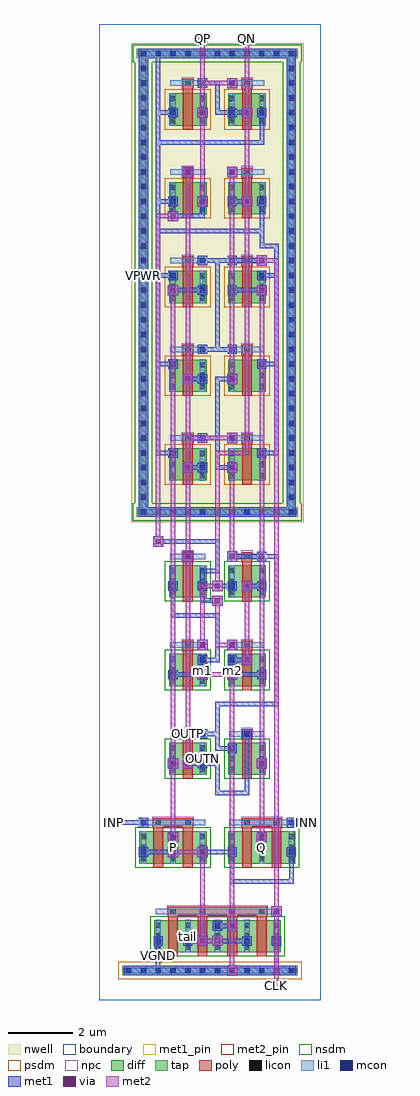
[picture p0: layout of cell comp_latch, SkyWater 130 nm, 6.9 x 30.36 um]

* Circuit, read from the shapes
.subckt comp_latch CLK INN INP OUTN OUTP P Q QN QP VGND VPWR m1 m2 tail
XM1 P INP tail VGND sky130_fd_pr__nfet_01v8 w=1 l=0.3 m=2
XM2 tail CLK VGND VGND sky130_fd_pr__nfet_01v8 w=1 l=0.3 m=4
XM3 OUTN OUTP P VGND sky130_fd_pr__nfet_01v8 w=1 l=0.3
XM4 m1 QN VGND VGND sky130_fd_pr__nfet_01v8 w=1 l=0.3
XM5 QP OUTN m1 VGND sky130_fd_pr__nfet_01v8 w=1 l=0.3
XM6 Q INN tail VGND sky130_fd_pr__nfet_01v8 w=1 l=0.3 m=2
XM7 Q OUTN OUTP VGND sky130_fd_pr__nfet_01v8 w=1 l=0.3
XM8 VGND QP m2 VGND sky130_fd_pr__nfet_01v8 w=1 l=0.3
XM9 m2 OUTP QN VGND sky130_fd_pr__nfet_01v8 w=1 l=0.3
XM10 OUTN OUTP VPWR VPWR sky130_fd_pr__pfet_01v8 w=1 l=0.3
XM11 OUTN CLK VPWR VPWR sky130_fd_pr__pfet_01v8 w=1 l=0.3
XM12 P CLK VPWR VPWR sky130_fd_pr__pfet_01v8 w=1 l=0.3
XM13 QP OUTN VPWR VPWR sky130_fd_pr__pfet_01v8 w=1 l=0.3
XM14 QP QN VPWR VPWR sky130_fd_pr__pfet_01v8 w=1 l=0.3
XM15 VPWR OUTN OUTP VPWR sky130_fd_pr__pfet_01v8 w=1 l=0.3
XM16 VPWR CLK OUTP VPWR sky130_fd_pr__pfet_01v8 w=1 l=0.3
XM17 VPWR CLK Q VPWR sky130_fd_pr__pfet_01v8 w=1 l=0.3
XM18 VPWR OUTP QN VPWR sky130_fd_pr__pfet_01v8 w=1 l=0.3
XM19 VPWR QP QN VPWR sky130_fd_pr__pfet_01v8 w=1 l=0.3
.ends

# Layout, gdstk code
import gdstk
lib = gdstk.Library(unit=1e-6, precision=1e-09)
def R(c, l, rs):  # rectangles x0, y0, x1, y1
    for r in rs: c.add(gdstk.rectangle(r[:2], r[2:], *l))
def A(c, l, x, y, w, h, nx, ny, dx, dy):  # array of equal rectangles
    R(c, l, [(x+i*dx, y+j*dy, x+i*dx+w, y+j*dy+h) for i in range(nx) for j in range(ny)])
nwell = (64, 20)
diff = (65, 20)
tap = (65, 44)
poly = (66, 20)
licon = (66, 44)
li1 = (67, 20)
mcon = (67, 44)
met1_pin = (68, 16)
met1 = (68, 20)
via = (68, 44)
met2_pin = (69, 16)
met2 = (69, 20)
nsdm = (93, 44)
psdm = (94, 20)
npc = (95, 20)
boundary = (235, 4)

comp_latch = lib.new_cell('comp_latch')
R(comp_latch, nwell, [(0.995,14.855,6.365,29.765)])
A(comp_latch, diff, 2.175, 7.005, 1.17, 1, 1, 3, 0, 2.76)
A(comp_latch, diff, 4.015, 7.005, 1.17, 1, 1, 3, 0, 2.76)
A(comp_latch, diff, 2.175, 16.16, 1.17, 1, 1, 5, 0, 2.76)
A(comp_latch, diff, 4.015, 16.16, 1.17, 1, 1, 5, 0, 2.76)
R(comp_latch, diff, [(1.715,1.485,5.645,2.485), (1.255,4.245,3.345,5.245), (4.015,4.245,6.105,5.245)])
R(comp_latch, tap, [(0.715,0.775,6.185,1.065), (1.175,15.035,6.185,15.325), (1.235,15.035,1.525,29.585), (5.835,15.035,6.125,29.585), (1.175,29.295,6.185,29.585)])
A(comp_latch, poly, 2.15, 1.355, 0.3, 1.405, 4, 1, 0.92, 0)
A(comp_latch, poly, 2.61, 4.115, 0.3, 1.405, 1, 4, 0, 2.76)
A(comp_latch, poly, 4.45, 4.115, 0.3, 1.405, 1, 4, 0, 2.76)
A(comp_latch, poly, 2.595, 8.145, 0.33, 0.27, 1, 3, 0, 2.76)
A(comp_latch, poly, 4.435, 8.145, 0.33, 0.27, 1, 3, 0, 2.76)
A(comp_latch, poly, 2.61, 16.03, 0.3, 1.45, 1, 5, 0, 2.76)
A(comp_latch, poly, 4.45, 16.03, 0.3, 1.45, 1, 5, 0, 2.76)
A(comp_latch, poly, 2.595, 17.345, 0.33, 0.27, 1, 5, 0, 2.76)
A(comp_latch, poly, 4.435, 17.345, 0.33, 0.27, 1, 5, 0, 2.76)
R(comp_latch, poly, [(2.135,2.625,5.225,2.895), (1.69,4.115,1.99,5.52), (5.37,4.115,5.67,5.52), (1.675,5.385,2.925,5.655), (4.435,5.385,5.685,5.655)])
A(comp_latch, licon, 0.835, 0.835, 0.17, 0.17, 12, 1, 0.46, 0)
A(comp_latch, licon, 1.755, 1.56, 0.17, 0.17, 5, 3, 0.92, 0.34)
A(comp_latch, licon, 2.215, 2.675, 0.17, 0.17, 4, 2, 0.92, 4.405)
A(comp_latch, licon, 1.295, 4.32, 0.17, 0.17, 6, 3, 0.92, 0.34)
A(comp_latch, licon, 2.675, 5.435, 0.17, 0.17, 1, 4, 0, 2.76)
A(comp_latch, licon, 4.515, 5.435, 0.17, 0.17, 1, 4, 0, 2.76)
A(comp_latch, licon, 2.215, 7.42, 0.17, 0.17, 4, 2, 0.92, 0.34)
A(comp_latch, licon, 2.215, 9.84, 0.17, 0.17, 4, 3, 0.92, 0.34)
A(comp_latch, licon, 2.215, 12.6, 0.17, 0.17, 4, 3, 0.92, 0.34)
A(comp_latch, licon, 1.295, 15.095, 0.17, 0.17, 11, 2, 0.46, 14.26)
A(comp_latch, licon, 1.295, 15.555, 0.17, 0.17, 1, 30, 0, 0.46)
A(comp_latch, licon, 5.895, 15.555, 0.17, 0.17, 1, 30, 0, 0.46)
A(comp_latch, licon, 2.215, 16.235, 0.17, 0.17, 4, 3, 0.92, 0.34)
A(comp_latch, licon, 2.675, 17.395, 0.17, 0.17, 1, 5, 0, 2.76)
A(comp_latch, licon, 4.515, 17.395, 0.17, 0.17, 1, 5, 0, 2.76)
A(comp_latch, licon, 2.215, 18.995, 0.17, 0.17, 4, 3, 0.92, 0.34)
A(comp_latch, licon, 2.215, 21.755, 0.17, 0.17, 4, 3, 0.92, 0.34)
A(comp_latch, licon, 2.215, 24.515, 0.17, 0.17, 4, 3, 0.92, 0.34)
A(comp_latch, licon, 2.215, 27.275, 0.17, 0.17, 4, 3, 0.92, 0.34)
R(comp_latch, licon, [(1.755,5.435,1.925,5.605), (5.435,5.435,5.605,5.605)])
A(comp_latch, li1, 1.755, 1.48, 0.17, 1.01, 5, 1, 0.92, 0)
A(comp_latch, li1, 1.295, 4.24, 0.17, 1.01, 6, 1, 0.92, 0)
A(comp_latch, li1, 2.215, 7, 0.17, 1.01, 4, 3, 0.92, 2.76)
A(comp_latch, li1, 2.215, 8.195, 1.09, 0.17, 1, 3, 0, 2.76)
A(comp_latch, li1, 4.055, 8.195, 1.09, 0.17, 1, 3, 0, 2.76)
A(comp_latch, li1, 2.215, 16.155, 0.17, 1.01, 4, 5, 0.92, 2.76)
A(comp_latch, li1, 2.215, 17.395, 1.09, 0.17, 1, 5, 0, 2.76)
A(comp_latch, li1, 4.055, 17.395, 1.09, 0.17, 1, 5, 0, 2.76)
R(comp_latch, li1, [(0.755,0.835,6.145,1.005), (1.755,2.675,5.605,2.845), (1.295,5.435,3.305,5.605), (4.055,5.435,6.065,5.605), (1.215,15.095,6.145,15.265), (1.295,15.095,1.465,29.525), (5.895,15.095,6.065,29.525), (1.215,29.355,6.145,29.525)])
A(comp_latch, mcon, 0.835, 0.835, 0.17, 0.17, 12, 1, 0.46, 0)
A(comp_latch, mcon, 2.215, 12.795, 0.17, 0.17, 4, 1, 0.92, 0)
A(comp_latch, mcon, 1.295, 15.095, 0.17, 0.17, 11, 2, 0.46, 14.26)
A(comp_latch, mcon, 1.295, 15.555, 0.17, 0.17, 1, 20, 0, 0.46)
A(comp_latch, mcon, 5.895, 15.555, 0.17, 0.17, 1, 20, 0, 0.46)
A(comp_latch, mcon, 2.215, 16.935, 0.17, 0.17, 1, 3, 0, 2.76)
A(comp_latch, mcon, 4.975, 16.935, 0.17, 0.17, 1, 3, 0, 2.76)
A(comp_latch, mcon, 1.295, 24.755, 0.17, 0.17, 6, 2, 0.92, 2.76)
A(comp_latch, mcon, 5.895, 25.215, 0.17, 0.17, 1, 5, 0, 0.46)
A(comp_latch, mcon, 1.295, 25.675, 0.17, 0.17, 3, 1, 1.38, 0)
A(comp_latch, mcon, 1.295, 26.135, 0.17, 0.17, 1, 3, 0, 0.46)
A(comp_latch, mcon, 1.295, 27.975, 0.17, 0.17, 1, 3, 0, 0.46)
A(comp_latch, mcon, 5.895, 27.975, 0.17, 0.17, 1, 3, 0, 0.46)
R(comp_latch, mcon, [(1.755,1.755,1.925,1.925), (2.675,1.755,2.845,1.925), (4.515,1.755,4.685,1.925), (5.435,1.755,5.605,1.925), (3.595,2.215,3.765,2.385), (5.435,2.675,5.605,2.845), (1.295,4.515,1.465,4.685), (3.135,4.515,3.305,4.685), (4.055,4.515,4.225,4.685), (5.895,4.515,6.065,4.685), (2.215,4.975,2.385,5.145), (4.975,4.975,5.145,5.145), (1.295,5.435,1.465,5.605), (5.895,5.435,6.065,5.605), (2.215,7.275,2.385,7.445), (3.135,7.275,3.305,7.445), (4.975,7.275,5.145,7.445), (4.055,7.735,4.225,7.905), (3.135,8.195,3.305,8.365), (4.515,8.195,4.685,8.365), (2.215,10.035,2.385,10.205), (4.975,10.035,5.145,10.205), (3.135,10.495,3.305,10.665), (4.055,10.495,4.225,10.665), (3.135,10.955,3.305,11.125), (4.055,10.955,4.225,11.125), (2.675,13.715,2.845,13.885), (4.975,13.715,5.145,13.885), (3.135,16.475,3.305,16.645), (4.055,16.475,4.225,16.645), (3.135,17.395,3.305,17.565), (4.055,17.395,4.225,17.565), (3.135,19.235,3.305,19.405), (4.055,19.235,4.225,19.405), (3.135,20.155,3.305,20.325), (4.055,20.155,4.225,20.325), (3.135,21.995,3.305,22.165), (4.055,21.995,4.225,22.165), (3.135,22.915,3.305,23.085), (4.055,22.915,4.225,23.085), (1.295,25.215,1.465,25.385), (3.135,28.435,3.305,28.605), (4.055,28.435,4.225,28.605)])
R(comp_latch, met1_pin, [(1.77,0.85,1.91,1.91), (1.31,22.47,1.45,22.61)])
A(comp_latch, met1, 2.615, 1.695, 0.29, 0.29, 1, 3, 0, 11.96)
A(comp_latch, met1, 3.98, 10.88, 0.32, 0.32, 1, 3, 0, 2.76)
A(comp_latch, met1, 2.155, 12.735, 0.29, 0.29, 4, 2, 0.92, 11.96)
A(comp_latch, met1, 2.6, 13.64, 0.32, 0.32, 1, 3, 0, 2.76)
A(comp_latch, met1, 2.155, 16.875, 0.29, 0.29, 1, 3, 0, 2.76)
A(comp_latch, met1, 4.915, 16.875, 0.29, 0.29, 1, 3, 0, 2.76)
A(comp_latch, met1, 4.99, 16.95, 0.6, 0.14, 1, 3, 0, 2.76)
A(comp_latch, met1, 3.15, 17.41, 0.6, 0.14, 1, 3, 0, 5.52)
A(comp_latch, met1, 3.995, 22.855, 0.29, 0.29, 1, 3, 0, 2.76)
A(comp_latch, met1, 2.155, 27.455, 0.29, 0.29, 4, 1, 0.92, 0)
R(comp_latch, met1, [(3.98,0.76,4.3,1.08), (0.775,0.775,6.125,1.065), (1.77,0.85,1.91,1.91), (1.77,0.85,4.21,0.99), (4.07,0.85,4.21,0.99), (4.07,0.85,5.59,0.99), (5.45,0.85,5.59,1.91), (3.06,1.68,3.38,2), (3.52,1.68,3.84,2), (1.695,1.695,1.985,1.985), (4.455,1.695,4.745,1.985), (5.375,1.695,5.665,1.985), (2.69,1.77,3.29,1.91), (3.61,1.77,4.67,1.91), (3.98,2.14,4.3,2.46), (3.535,2.155,3.825,2.445), (3.61,2.23,4.21,2.37), (5.36,2.6,5.68,2.92), (5.375,2.615,5.665,2.905), (4.07,3.61,4.21,4.67), (4.07,3.61,6.05,3.75), (5.91,3.61,6.05,4.67), (2.14,4.44,2.46,4.76), (3.06,4.44,3.38,4.76), (1.235,4.455,1.525,4.745), (3.075,4.455,3.365,4.745), (3.995,4.455,4.285,4.745), (5.835,4.455,6.125,4.745), (1.31,4.53,2.37,4.67), (3.15,4.53,4.21,4.67), (2.14,4.9,2.46,5.22), (4.9,4.9,5.22,5.22), (2.155,4.915,2.445,5.205), (4.915,4.915,5.205,5.205), (0.3,5.36,0.62,5.68), (6.28,5.36,6.6,5.68), (1.235,5.375,1.525,5.665), (5.835,5.375,6.125,5.665), (0.39,5.45,1.45,5.59), (5.91,5.45,6.51,5.59), (3.61,6.37,4.67,6.51), (3.61,6.37,3.75,7.43), (4.53,6.37,4.67,8.35), (2.14,7.2,2.46,7.52), (2.6,7.2,2.92,7.52), (4.9,7.2,5.22,7.52), (2.155,7.215,2.445,7.505), (3.075,7.215,3.365,7.505), (4.915,7.215,5.205,7.505), (2.69,7.29,3.29,7.43), (3.15,7.29,3.75,7.43), (3.995,7.675,4.285,7.965), (3.61,7.75,4.21,7.89), (3.61,7.75,3.75,8.35), (3.075,8.135,3.365,8.425), (4.455,8.135,4.745,8.425), (3.15,8.21,3.75,8.35), (3.61,8.21,3.75,9.27), (3.61,9.13,5.59,9.27), (5.45,9.13,5.59,13.87), (3.06,9.96,3.38,10.28), (3.98,9.96,4.3,10.28), (2.155,9.975,2.445,10.265), (4.915,9.975,5.205,10.265), (2.23,10.05,3.29,10.19), (4.07,10.05,5.13,10.19), (4.44,10.42,4.76,10.74), (3.075,10.435,3.365,10.725), (3.995,10.435,4.285,10.725), (3.15,10.51,3.75,10.65), (3.61,10.51,3.75,12.03), (4.07,10.51,4.67,10.65), (3.06,10.88,3.38,11.2), (3.075,10.895,3.365,11.185), (3.995,10.895,4.285,11.185), (2.23,11.89,2.37,12.95), (2.23,11.89,3.75,12.03), (3.52,12.26,3.84,12.58), (3.15,12.35,3.75,12.49), (3.15,12.35,3.29,12.95), (3.52,12.72,3.84,13.04), (4.44,12.72,4.76,13.04), (3.15,12.81,3.29,13.41), (3.61,12.81,4.21,12.95), (4.53,12.81,5.13,12.95), (3.15,13.27,3.75,13.41), (3.61,13.27,3.75,14.33), (4.915,13.655,5.205,13.945), (4.07,13.73,5.13,13.87), (4.99,13.73,5.59,13.87), (1.68,14.1,2,14.42), (1.77,14.19,3.75,14.33), (1.235,15.035,6.125,15.325), (1.235,15.035,1.525,29.585), (5.835,15.035,6.125,29.585), (3.075,16.415,3.365,16.705), (3.995,16.415,4.285,16.705), (2.69,16.49,3.29,16.63), (3.61,16.49,4.21,16.63), (3.61,16.49,3.75,17.55), (1.77,16.95,2.37,17.09), (1.77,16.95,1.91,19.85), (5.45,16.95,5.59,19.85), (3.98,17.32,4.3,17.64), (3.075,17.335,3.365,17.625), (3.995,17.335,4.285,17.625), (3.61,17.41,3.75,19.39), (3.98,19.16,4.3,19.48), (3.075,19.175,3.365,19.465), (3.995,19.175,4.285,19.465), (2.69,19.25,3.29,19.39), (3.61,19.25,4.21,19.39), (1.77,19.71,2.37,19.85), (1.77,19.71,1.91,22.61), (5.45,19.71,5.59,22.61), (3.075,20.095,3.365,20.385), (3.995,20.095,4.285,20.385), (3.15,20.17,4.21,20.31), (3.61,20.17,3.75,23.07), (2.14,21.92,2.46,22.24), (4.9,21.92,5.22,22.24), (3.075,21.935,3.365,22.225), (3.995,21.935,4.285,22.225), (2.23,22.01,3.29,22.15), (4.07,22.01,5.13,22.15), (1.31,22.47,2.37,22.61), (1.31,22.47,1.45,22.61), (1.77,22.47,1.91,24.91), (5.45,22.47,5.59,23.53), (4.9,22.84,5.22,23.16), (3.075,22.855,3.365,23.145), (3.61,22.93,4.21,23.07), (4.07,22.93,5.13,23.07), (4.99,23.39,5.59,23.53), (4.99,23.39,5.13,23.99), (1.77,23.85,5.13,23.99), (4.99,23.85,5.13,24.91), (2.14,24.22,2.46,24.54), (2.23,24.31,3.29,24.45), (3.15,24.31,3.29,24.91), (3.06,24.68,3.38,25), (4.44,24.68,4.76,25), (1.77,24.77,2.37,24.91), (1.77,24.77,1.91,27.67), (4.07,24.77,4.67,24.91), (2.6,25.6,2.92,25.92), (3.98,25.6,4.3,25.92), (1.77,26.61,5.13,26.75), (4.99,26.61,5.13,27.67), (3.06,27.44,3.38,27.76), (4.44,27.44,4.76,27.76), (1.77,27.53,2.37,27.67), (1.77,27.53,1.91,29.51), (3.61,27.53,4.21,27.67), (3.61,27.53,3.75,28.59), (4.07,27.53,4.67,27.67), (3.98,28.36,4.3,28.68), (3.075,28.375,3.365,28.665), (1.235,29.295,6.125,29.585), (1.77,29.37,1.91,29.51)])
A(comp_latch, via, 4.065, 10.965, 0.15, 0.15, 1, 3, 0, 2.76)
A(comp_latch, via, 2.685, 13.725, 0.15, 0.15, 1, 3, 0, 2.76)
R(comp_latch, via, [(4.065,0.845,4.215,0.995), (3.145,1.765,3.295,1.915), (3.605,1.765,3.755,1.915), (4.065,2.225,4.215,2.375), (5.445,2.685,5.595,2.835), (2.225,4.525,2.375,4.675), (3.145,4.525,3.295,4.675), (2.225,4.985,2.375,5.135), (4.985,4.985,5.135,5.135), (0.385,5.445,0.535,5.595), (6.365,5.445,6.515,5.595), (2.225,7.285,2.375,7.435), (2.685,7.285,2.835,7.435), (4.985,7.285,5.135,7.435), (3.145,10.045,3.295,10.195), (4.065,10.045,4.215,10.195), (4.525,10.505,4.675,10.655), (3.145,10.965,3.295,11.115), (3.605,12.345,3.755,12.495), (3.605,12.805,3.755,12.955), (4.525,12.805,4.675,12.955), (1.765,14.185,1.915,14.335), (4.065,17.405,4.215,17.555), (4.065,19.245,4.215,19.395), (2.225,22.005,2.375,22.155), (4.985,22.005,5.135,22.155), (4.985,22.925,5.135,23.075), (2.225,24.305,2.375,24.455), (3.145,24.765,3.295,24.915), (4.525,24.765,4.675,24.915), (2.685,25.685,2.835,25.835), (4.065,25.685,4.215,25.835), (3.145,27.525,3.295,27.675), (4.525,27.525,4.675,27.675), (4.065,28.445,4.215,28.595)])
R(comp_latch, met2_pin, [(5.37,0.31,5.67,0.61), (0.31,5.37,0.61,5.67), (6.29,5.37,6.59,5.67), (3.07,29.75,3.37,30.05), (4.45,29.75,4.75,30.05)])
A(comp_latch, met2, 3.98, 10.88, 0.32, 0.32, 1, 3, 0, 2.76)
A(comp_latch, met2, 2.6, 13.64, 0.32, 0.32, 1, 3, 0, 2.76)
R(comp_latch, met2, [(5.37,0.31,5.67,0.61), (5.45,0.39,5.59,2.83), (5.45,0.39,5.59,0.53), (3.98,0.76,4.3,1.08), (4.07,0.85,4.21,2.37), (3.06,1.68,3.38,2), (3.52,1.68,3.84,2), (3.15,1.77,3.75,1.91), (3.15,1.77,3.29,4.67), (3.98,2.14,4.3,2.46), (4.07,2.23,4.21,10.19), (5.36,2.6,5.68,2.92), (5.45,2.69,5.59,23.07), (2.14,4.44,2.46,4.76), (3.06,4.44,3.38,4.76), (2.23,4.53,3.29,4.67), (2.14,4.9,2.46,5.22), (4.9,4.9,5.22,5.22), (2.23,4.99,2.37,7.43), (4.99,4.99,5.13,7.43), (0.3,5.36,0.62,5.68), (6.28,5.36,6.6,5.68), (0.31,5.37,0.61,5.67), (6.29,5.37,6.59,5.67), (0.39,5.45,0.53,5.59), (6.37,5.45,6.51,5.59), (2.14,7.2,2.46,7.52), (2.6,7.2,2.92,7.52), (4.9,7.2,5.22,7.52), (2.23,7.29,2.37,22.15), (2.69,7.29,2.83,13.87), (4.99,7.29,5.13,22.15), (3.06,9.96,3.38,10.28), (3.98,9.96,4.3,10.28), (3.15,10.05,4.21,10.19), (4.44,10.42,4.76,10.74), (4.53,10.51,4.67,12.95), (3.06,10.88,3.38,11.2), (3.15,10.97,3.29,12.95), (3.61,10.97,4.21,11.11), (3.61,10.97,3.75,12.49), (3.52,12.26,3.84,12.58), (3.52,12.72,3.84,13.04), (4.44,12.72,4.76,13.04), (3.15,12.81,3.75,12.95), (3.61,12.81,3.75,17.09), (2.69,13.73,2.83,16.63), (4.07,13.73,4.21,16.63), (1.68,14.1,2,14.42), (1.77,14.19,1.91,24.45), (2.69,16.49,2.83,19.39), (3.61,16.95,4.67,17.09), (4.53,16.95,4.67,24.91), (3.98,17.32,4.3,17.64), (2.69,17.41,4.21,17.55), (3.98,19.16,4.3,19.48), (2.69,19.25,2.83,25.83), (4.07,19.25,4.21,25.83), (2.14,21.92,2.46,22.24), (4.9,21.92,5.22,22.24), (4.9,22.84,5.22,23.16), (4.99,22.93,5.59,23.07), (2.14,24.22,2.46,24.54), (1.77,24.31,2.37,24.45), (3.06,24.68,3.38,25), (4.44,24.68,4.76,25), (3.15,24.77,3.29,27.67), (4.53,24.77,4.67,27.67), (2.6,25.6,2.92,25.92), (3.98,25.6,4.3,25.92), (3.06,27.44,3.38,27.76), (4.44,27.44,4.76,27.76), (3.15,27.53,3.29,29.97), (4.53,27.53,4.67,29.97), (3.98,28.36,4.3,28.68), (3.15,28.45,4.21,28.59), (3.07,29.75,3.37,30.05), (4.45,29.75,4.75,30.05), (3.15,29.83,3.29,29.97), (4.53,29.83,4.67,29.97)])
A(comp_latch, nsdm, 2.05, 6.88, 1.42, 1.25, 1, 3, 0, 2.76)
A(comp_latch, nsdm, 3.89, 6.88, 1.42, 1.25, 1, 3, 0, 2.76)
R(comp_latch, nsdm, [(1.59,1.36,5.77,2.61), (1.13,4.12,3.47,5.37), (3.89,4.12,6.23,5.37), (1.05,14.91,6.31,15.45), (1.11,15.45,1.65,29.17), (5.71,15.45,6.25,29.17), (1.05,29.17,6.31,29.71)])
A(comp_latch, psdm, 2.05, 16.035, 1.42, 1.25, 1, 5, 0, 2.76)
A(comp_latch, psdm, 3.89, 16.035, 1.42, 1.25, 1, 5, 0, 2.76)
R(comp_latch, psdm, [(0.59,0.65,6.31,1.19)])
A(comp_latch, npc, 2.575, 8.095, 0.37, 0.37, 1, 3, 0, 2.76)
A(comp_latch, npc, 4.415, 8.095, 0.37, 0.37, 1, 3, 0, 2.76)
A(comp_latch, npc, 2.575, 17.295, 0.37, 0.37, 1, 5, 0, 2.76)
A(comp_latch, npc, 4.415, 17.295, 0.37, 0.37, 1, 5, 0, 2.76)
R(comp_latch, npc, [(2.115,2.575,5.245,2.945), (1.655,5.335,2.945,5.705), (4.415,5.335,5.705,5.705)])
R(comp_latch, boundary, [(0,0,6.9,30.36)])
comp_latch.add(gdstk.Label('tail', (2.76,1.985), layer=67, texttype=5))
comp_latch.add(gdstk.Label('P', (2.3,4.745), layer=67, texttype=5))
comp_latch.add(gdstk.Label('Q', (5.06,4.745), layer=67, texttype=5))
comp_latch.add(gdstk.Label('OUTP', (2.76,8.28), layer=67, texttype=5))
comp_latch.add(gdstk.Label('OUTN', (3.22,7.505), layer=67, texttype=5))
comp_latch.add(gdstk.Label('m1', (3.22,10.265), layer=67, texttype=5))
comp_latch.add(gdstk.Label('m2', (4.14,10.265), layer=67, texttype=5))
comp_latch.add(gdstk.Label('VPWR', (1.38,22.54), layer=68, texttype=5))
comp_latch.add(gdstk.Label('VGND', (1.84,1.38), layer=68, texttype=5))
comp_latch.add(gdstk.Label('CLK', (5.52,0.46), layer=69, texttype=5))
comp_latch.add(gdstk.Label('INP', (0.46,5.52), layer=69, texttype=5))
comp_latch.add(gdstk.Label('INN', (6.44,5.52), layer=69, texttype=5))
comp_latch.add(gdstk.Label('QP', (3.22,29.9), layer=69, texttype=5))
comp_latch.add(gdstk.Label('QN', (4.6,29.9), layer=69, texttype=5))
comp_latch.add(gdstk.Label('VPWR', (1.38,22.54), layer=68, texttype=16))
comp_latch.add(gdstk.Label('VGND', (1.84,1.38), layer=68, texttype=16))
comp_latch.add(gdstk.Label('CLK', (5.52,0.46), layer=69, texttype=16))
comp_latch.add(gdstk.Label('INP', (0.46,5.52), layer=69, texttype=16))
comp_latch.add(gdstk.Label('INN', (6.44,5.52), layer=69, texttype=16))
comp_latch.add(gdstk.Label('QP', (3.22,29.9), layer=69, texttype=16))
comp_latch.add(gdstk.Label('QN', (4.6,29.9), layer=69, texttype=16))

lib.write_gds('comp_latch.gds')
